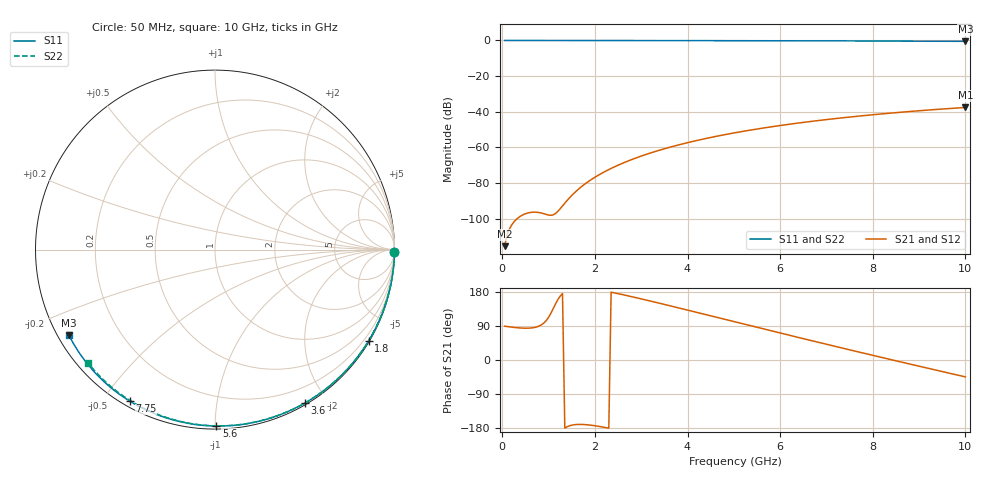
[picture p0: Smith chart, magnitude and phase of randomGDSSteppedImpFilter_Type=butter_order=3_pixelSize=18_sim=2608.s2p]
! freq	dB(S11)	phase(S11)	dB(S12)	phase(S12)
!  dB(S21)	phase(S21)	dB(S22)	phase(S22)
!S-par simulation data
#  GHz  S  DB  R 50
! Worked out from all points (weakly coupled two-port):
!   200 points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, 50 MHz to 10 GHz, reference 50 ohm
!   highest |S21| = -37.56 dB at 10 GHz (marker M1); lowest = -115.3 dB at 50 MHz (marker M2)
!   lowest |S11| = -0.5 dB at 10 GHz (marker M3), VSWR 34.43, Z = 1.56 - j13.6 ohm
!   |S11| at or under -10 dB: nowhere
!   |S22| runs from -0.5 to 0.0 dB; largest |S21 - S12| = 0
!   S11 on the Smith chart (normalised r, x): 50 MHz: open; 1.8 GHz: 0.03, -3.66; 3.6 GHz: 0.02, -1.74; 5.6 GHz: 0.02, -1.01; 7.75 GHz: 0.02, -0.58; 10 GHz: 0.03, -0.27
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0.05  -0.00 -0.9  -115.32 89.2  -115.32 89.2  -0.00 -0.8
0.45  -0.01 -7.8  -97.69 84.0  -97.69 84.0  -0.01 -7.2
0.9  -0.02 -15.4  -97.15 97.9  -97.15 97.9  -0.02 -14.3
1.3  -0.03 -22.2  -92.76 175.3  -92.76 175.3  -0.03 -20.6
1.75  -0.04 -29.7  -81.14 -170.2  -81.14 -170.2  -0.04 -27.6
1.8  -0.04 -30.6  -80.16 -170.6  -80.16 -170.6  -0.04 -28.4
2  -0.04 -33.9  -76.68 -173.5  -76.68 -173.5  -0.04 -31.5
2.15  -0.05 -36.4  -74.42 -176.4  -74.42 -176.4  -0.04 -33.8
2.5  -0.05 -42.1  -69.92 175.1  -69.92 175.1  -0.05 -39.1
2.9  -0.06 -48.6  -65.74 164.2  -65.74 164.2  -0.06 -45.1
3.4  -0.07 -56.5  -61.46 149.7  -61.46 149.7  -0.07 -52.5
3.6  -0.08 -59.6  -59.98 143.7  -59.98 143.7  -0.07 -55.4
4.3  -0.10 -70.4  -55.49 122.6  -55.49 122.6  -0.09 -65.5
5.05  -0.13 -81.6  -51.62 99.9  -51.62 99.9  -0.12 -75.9
5.6  -0.15 -89.6  -49.23 83.3  -49.23 83.3  -0.14 -83.3
6.15  -0.17 -97.4  -47.13 66.7  -47.13 66.7  -0.16 -90.6
6.7  -0.20 -105.1  -45.28 50.4  -45.28 50.4  -0.19 -97.7
7.2  -0.24 -111.9  -43.77 35.6  -43.77 35.6  -0.22 -104.1
7.75  -0.28 -119.4  -42.27 19.5  -42.27 19.5  -0.26 -111.0
8.35  -0.33 -127.4  -40.81 2.2  -40.81 2.2  -0.30 -118.4
9.2  -0.41 -138.8  -39.01 -22.1  -39.01 -22.1  -0.38 -128.7
10  -0.50 -149.6  -37.56 -44.6  -37.56 -44.6  -0.47 -138.3
